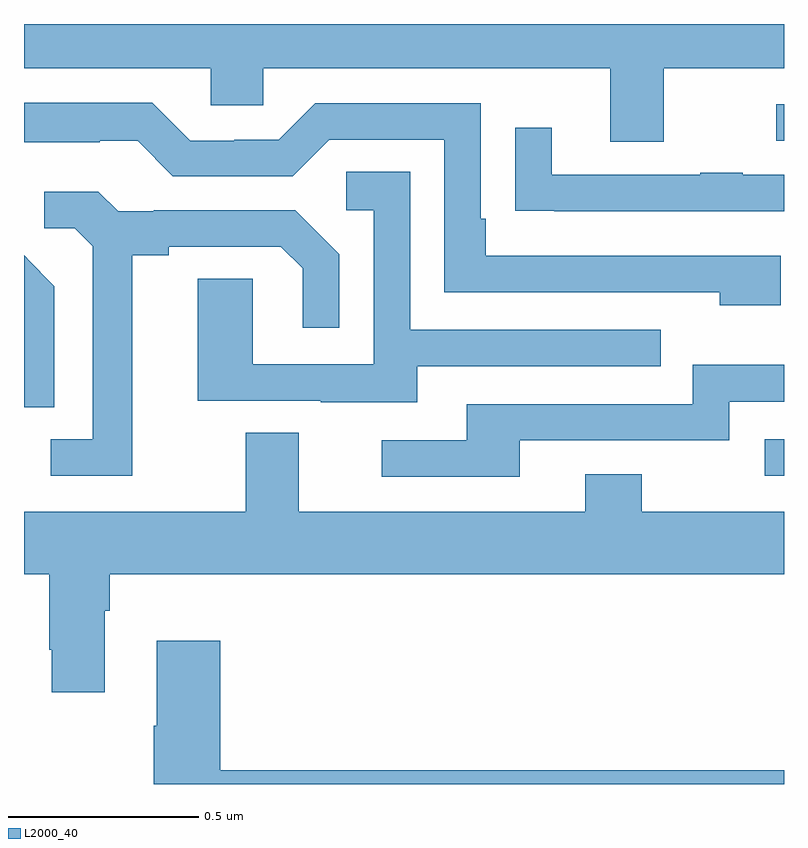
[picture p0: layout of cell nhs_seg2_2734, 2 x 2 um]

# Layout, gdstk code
import gdstk
lib = gdstk.Library(unit=1e-6, precision=1e-09)
def R(c, l, rs):  # rectangles x0, y0, x1, y1
    for r in rs: c.add(gdstk.rectangle(r[:2], r[2:], *l))
def P(c, l, *ps):  # polygons
    for p in ps: c.add(gdstk.Polygon(p, *l))
L2000_40 = (2000, 40)

nhs_seg2_2734 = lib.new_cell('nhs_seg2_2734')
R(nhs_seg2_2734, L2000_40, [(146.949,598.611,147,598.707), (146.979,599.493,147,599.589)])
P(nhs_seg2_2734, L2000_40, [(146.683,599.684),(147,599.684),(147,599.8),(145,599.8),(145,599.684),(145.491,599.684),(145.491,599.586),(145.629,599.586),(145.629,599.684),(146.543,599.684),(146.543,599.49),(146.683,599.49)],
  [(146.992,599.19),(146.215,599.19),(146.215,599.287),(146.202,599.287),(146.202,599.592),(145.767,599.592),(145.671,599.496),(145.553,599.496),(145.553,599.493),(145.437,599.493),(145.337,599.593),(145,599.593),(145,599.489),(145.199,599.489),(145.199,599.493),(145.299,599.493),(145.392,599.4),(145.707,599.4),(145.803,599.496),(146.106,599.496),(146.106,599.094),(146.831,599.094),(146.831,599.06),(146.992,599.06)],
  [(147,599.403),(146.891,599.403),(146.891,599.408),(146.779,599.408),(146.779,599.403),(146.389,599.403),(146.389,599.527),(146.293,599.527),(146.293,599.308),(146.395,599.308),(146.395,599.307),(147,599.307)],
  [(146.035,598.899),(146.675,598.899),(146.675,598.995),(146.016,598.995),(146.016,599.411),(145.848,599.411),(145.848,599.31),(145.92,599.31),(145.92,598.905),(145.602,598.905),(145.602,599.129),(145.457,599.129),(145.457,598.809),(145.781,598.809),(145.781,598.805),(146.035,598.805)],
  [(145.285,599.192),(145.381,599.192),(145.381,599.214),(145.676,599.214),(145.733,599.157),(145.733,599.001),(145.83,599.001),(145.83,599.194),(145.714,599.31),(145.342,599.31),(145.342,599.307),(145.248,599.307),(145.196,599.359),(145.053,599.359),(145.053,599.262),(145.134,599.262),(145.181,599.215),(145.181,598.707),(145.071,598.707),(145.071,598.611),(145.285,598.611)],
  [(145.08,599.11),(145.007,599.183),(145.008,599.184),(145,599.192),(145,598.792),(145.08,598.792)],
  [(146.305,598.704),(146.856,598.704),(146.856,598.806),(147,598.806),(147,598.903),(146.76,598.903),(146.76,598.8),(146.165,598.8),(146.165,598.704),(145.941,598.704),(145.941,598.608),(146.305,598.608)],
  [(145,598.352),(145.066,598.352),(145.066,598.153),(145.073,598.153),(145.073,598.041),(145.213,598.041),(145.213,598.256),(145.226,598.256),(145.226,598.352),(147,598.352),(147,598.516),(146.625,598.516),(146.625,598.615),(146.477,598.615),(146.477,598.516),(145.723,598.516),(145.723,598.724),(145.583,598.724),(145.583,598.516),(145,598.516)],
  [(147,597.836),(145.517,597.836),(145.517,598.177),(145.349,598.177),(145.349,597.953),(145.342,597.953),(145.342,597.8),(147,597.8)])

lib.write_gds('nhs_seg2_2734.gds')
